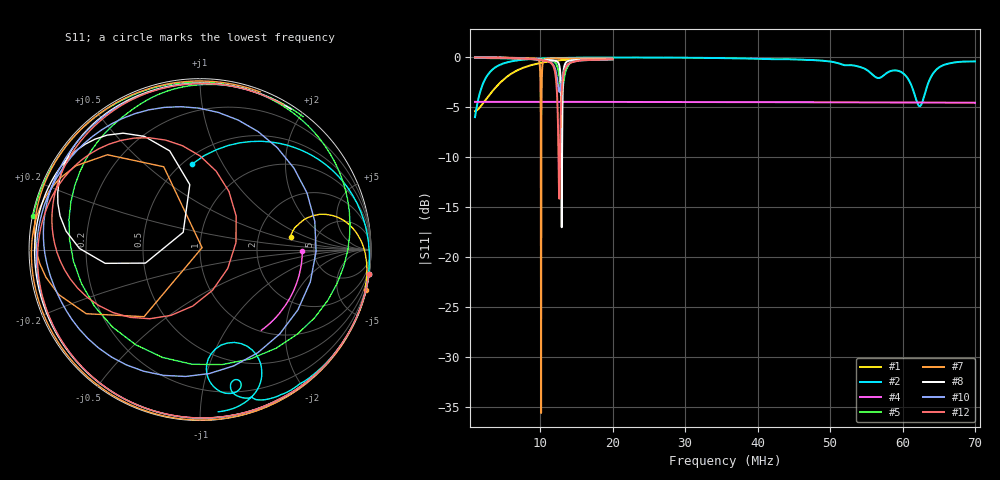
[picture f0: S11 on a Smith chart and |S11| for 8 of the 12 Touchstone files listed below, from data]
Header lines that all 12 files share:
# HZ S RI R 50
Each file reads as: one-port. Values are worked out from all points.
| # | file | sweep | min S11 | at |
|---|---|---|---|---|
| 1 | coil+dee_1-20MHz_2026_02_02.s1p | 1 MHz to 20 MHz | -5.4 dB | 1 MHz |
| 2 | coil_1-70MHz_2026_01_30.s1p | 1 MHz to 70 MHz | -6.0 dB | 1 MHz |
| 3 | jg_1-20MHz_2026_02_02.s1p | 1 MHz to 20 MHz | -4.5 dB | 19.19 MHz |
| 4 | jg_1-70MHz_2026_02_02.s1p | 1 MHz to 70 MHz | -4.5 dB | 69.83 MHz |
| 5 | LC_serial_1-20MHz_2026_03_23.s1p | 1 MHz to 20 MHz | -3.5 dB | 12.97 MHz |
| 6 | LC_serial_1-20MHz_2026_03_23_2.s1p | 1 MHz to 20 MHz | -7.2 dB | 12.88 MHz |
| 7 | LC_serial_two_varicons_trial2_1-20M_2026_03_30.s1p | 1 MHz to 20 MHz | -35.6 dB | 10.12 MHz |
| 8 | LC_serial_with_trimmer_faraway_2026_03_23.s1p | 1 MHz to 20 MHz | -17.0 dB | 12.97 MHz |
| 9 | LC_serial_with_trimmer_moderate_2026_03_23.s1p | 1 MHz to 20 MHz | -12.8 dB | 12.88 MHz |
| 10 | LC_serial_with_trimmer_tooconnected_2026_03_23.s1p | 1 MHz to 20 MHz | -3.4 dB | 12.69 MHz |
| 11 | LC_serial_without_hand_1-20M_2026_03_30.s1p | 1 MHz to 20 MHz | -6.3 dB | 12.97 MHz |
| 12 | LC_serial_witrh_hand_1-20M_2026_03_30.s1p | 1 MHz to 20 MHz | -14.1 dB | 12.64 MHz |
